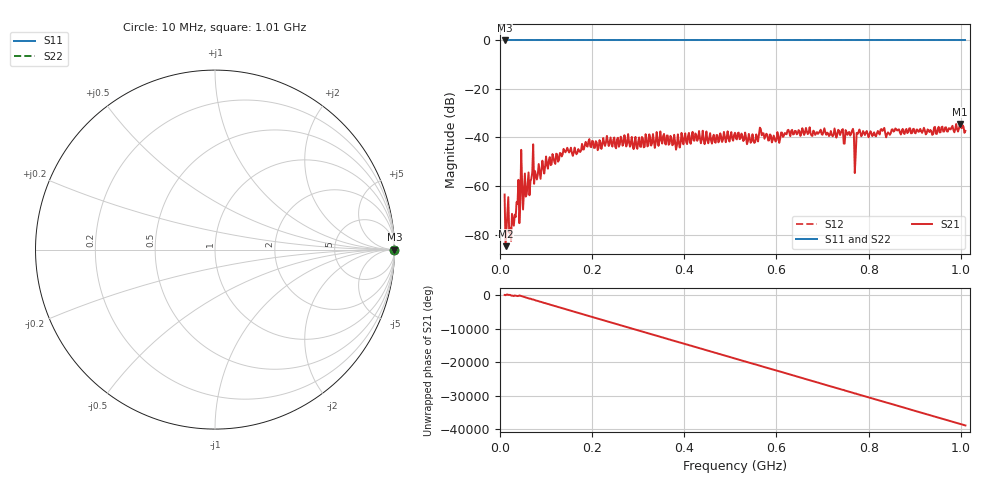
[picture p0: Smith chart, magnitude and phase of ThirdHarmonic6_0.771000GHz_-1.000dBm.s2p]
! 8/16/2025 1:45:44 AM
! C:\ANRITSUVNA\TEMP\TEMP.S2P
! CHANNEL.1
! TR.MEASUREMENT
! RAW.DATA
! RF.CORRECTION.OFF
! AVERAGING.OFF
! IF.BANDWIDTH: 5KHZ
! SWEEPTYPE:  FREQ.SWEEP(Linear)
! Reference Plane Port Info
! PORT:  PORT1  PORT2
! DISTANCE:  0  m  0  m
! TIME:  0  s  0  s
! PHASE.OFFSET:  0  deg.  0  deg.
! LOSS:  0  dB  0  dB
! REF.LOSS:  0  dB  0  dB
! REF.FREQ:  0  Hz  0  Hz
! Power Info
! POWER:  -20  dBm  -20  dBm
! EFF.POWER:  -20  dBm  -20  dBm
! SOURCE.ATTEN:  0  dB  0  dB
! TEST.ATTEN:  0  dB  0  dB
# GHZ S RI R 50.0
! FREQ.GHZ  S11RE  S11IM  S21RE  S21IM  S12RE  S12IM  S22RE  S22IM
!; PortSelection: Port_12
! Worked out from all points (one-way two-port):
!   501 points, 10 MHz to 1.01 GHz, reference 50 ohm
!   highest |S21| = -34.42 dB at 998 MHz (marker M1); lowest = -84.8 dB at 12 MHz (marker M2)
!   lowest |S11| = 0.0 dB at 10 MHz (marker M3)
!   |S11| at or under -10 dB: nowhere
!   |S22| runs from 0.0 to 0.0 dB; largest |S21 - S12| = 1
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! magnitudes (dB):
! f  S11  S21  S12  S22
! 10 MHz  0.0  -63.5  0.0  0.0
! 12 MHz  0.0  -84.8  0.0  0.0
! 26 MHz  0.0  -71.5  0.0  0.0
! 40 MHz  0.0  -57.5  0.0  0.0
! 44 MHz  0.0  -67.8  0.0  0.0
! 46 MHz  0.0  -45.1  0.0  0.0
! 50 MHz  0.0  -69.7  0.0  0.0
! 54 MHz  0.0  -54.8  0.0  0.0
! 72 MHz  0.0  -42.8  0.0  0.0
! 78 MHz  0.0  -55.6  0.0  0.0
! 142 MHz  0.0  -46.1  0.0  0.0
! 178 MHz  0.0  -42.6  0.0  0.0
! 344 MHz  0.0  -43.5  0.0  0.0
! 386 MHz  0.0  -38.7  0.0  0.0
! 510 MHz  0.0  -38.1  0.0  0.0
! 678 MHz  0.0  -39.4  0.0  0.0
! 762 MHz  0.0  -38.6  0.0  0.0
! 772 MHz  0.0  -46.9  0.0  0.0
! 778 MHz  0.0  -37.8  0.0  0.0
! 844 MHz  0.0  -38.3  0.0  0.0
! 998 MHz  0.0  -34.4  0.0  0.0
! 1.01 GHz  0.0  -37.3  0.0  0.0
